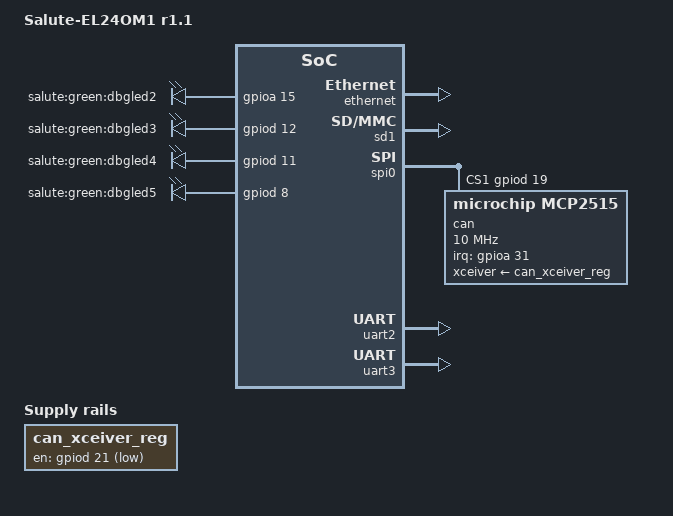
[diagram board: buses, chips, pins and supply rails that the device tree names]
/*
 * Copyright 2017 RnD Center "ELVEES", JSC
 *
 * This program is free software; you can redistribute it and/or modify
 * it under the terms of the GNU General Public License version 2 as
 * published by the Free Software Foundation.
 */

/dts-v1/;

#include <dt-bindings/interrupt-controller/irq.h>

#include "mcom02-salute-el24pm1-r1.1.dtsi"

/ {
	model = "Salute-EL24OM1 r1.1";

	chosen {
		bootargs = "console=ttyS0,115200";
	};

	aliases {
		spi0 = &spi0;
	};

	clocks {
		can_clk: can_clk {
			#clock-cells = <0>;
			compatible = "fixed-clock";
			clock-frequency = <16000000>;
		};
	};

	leds {
		dbgled2 {
			label = "salute:green:dbgled2";
			gpios = <&gpioa 15 GPIO_ACTIVE_HIGH>;
			linux,default-trigger = "mmc1";
		};

		dbgled3 {
			label = "salute:green:dbgled3";
			gpios = <&gpiod 12 GPIO_ACTIVE_HIGH>;
			default-state = "off";
		};

		dbgled4 {
			label = "salute:green:dbgled4";
			gpios = <&gpiod 11 GPIO_ACTIVE_HIGH>;
			default-state = "off";
		};

		dbgled5 {
			label = "salute:green:dbgled5";
			gpios = <&gpiod 8 GPIO_ACTIVE_HIGH>;
			default-state = "off";
		};
	};

	regulators {
		can_xceiver_reg: regulator@1 {
			compatible = "regulator-fixed";
			reg = <0x1>;
			regulator-name = "can-xceiver";
			gpio = <&gpiod 21 0>;
		};
	};
};

&ethernet {
	status = "okay";
};

&framebuffer {
	status = "okay";
};

&sd1 {
	status = "okay";
};

&sound {
	status = "okay";
};

&spi0 {
	num-cs = <2>;
	/* Third argument of "cs-gpios" property is set to 0,
	 * because it is ignored by the SPI driver. */
	cs-gpios = <&gpiod 18 0>, <&gpiod 19 0>;

	can: can@1 {
		compatible = "microchip,mcp2515";
		reg = <0x1>;
		spi-max-frequency = <10000000>;
		clocks = <&can_clk>;
		interrupt-parent = <&gpioa>;
		interrupts = <31 GPIO_ACTIVE_HIGH>;
		xceiver-supply = <&can_xceiver_reg>;
	};
};

&uart2 {
	status = "okay";
};

/* RS-485 is used as physical layer for UART3 */
&uart3 {
	status = "okay";
};
